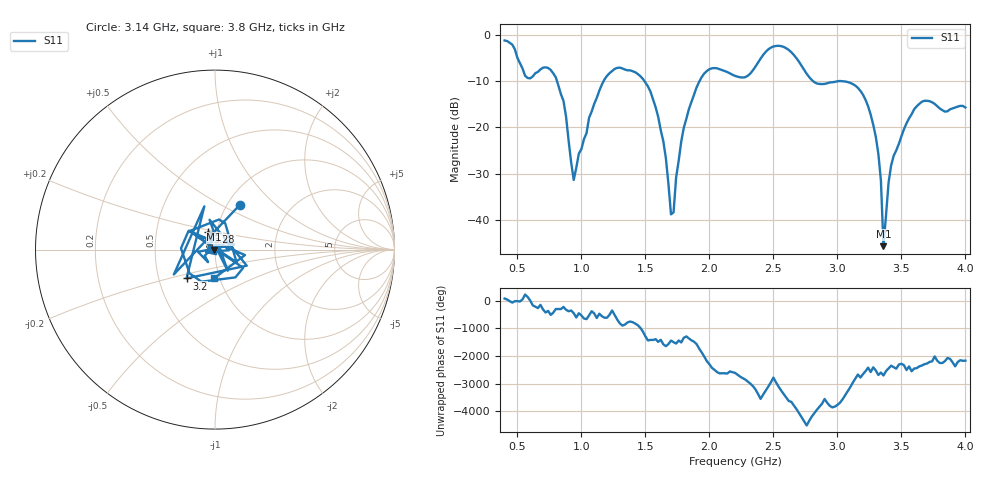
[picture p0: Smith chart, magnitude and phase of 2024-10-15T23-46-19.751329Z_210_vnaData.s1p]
! Created with skrf (http://scikit-rf.org).
# Hz S RI R 50.0
!freq ReS11 ImS11
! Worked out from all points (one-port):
!   181 points, 400 MHz to 4 GHz, reference 50 ohm
!   lowest |S11| = -45.7 dB at 3.36 GHz (marker M1), VSWR 1.01, Z = 49.5 + j0.0304 ohm
!   |S11| at or under -10 dB: 809.4 MHz to 1.173 GHz (363.8 MHz wide, 36.7 % of centre); 1.493 GHz to 1.923 GHz (429.7 MHz wide, 25.2 % of centre); 3.04 GHz to end of sweep (the widest 3 of 4)
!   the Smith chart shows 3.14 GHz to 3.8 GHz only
!   S11 on the Smith chart (normalised r, x): 3.14 GHz: 1.14, +0.62; 3.2 GHz: 0.69, -0.23; 3.28 GHz: 0.91, +0.18; 3.8 GHz: 0.94, -0.31
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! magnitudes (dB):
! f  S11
! 400 MHz  -1.2
! 580 MHz  -9.3
! 760 MHz  -7.6
! 860 MHz  -14.3
! 940 MHz  -31.4
! 1.14 GHz  -12.0
! 1.3 GHz  -7.1
! 1.54 GHz  -12.3
! 1.64 GHz  -23.0
! 1.7 GHz  -38.8
! 1.72 GHz  -38.4
! 1.76 GHz  -27.2
! 1.8 GHz  -20.1
! 1.94 GHz  -9.1
! 2.2 GHz  -8.8
! 2.5 GHz  -2.5
! 2.66 GHz  -4.3
! 2.84 GHz  -10.5
! 3.1 GHz  -10.4
! 3.14 GHz  -11.0
! 3.2 GHz  -12.9
! 3.28 GHz  -19.4
! 3.34 GHz  -31.5
! 3.36 GHz  -45.7
! 3.42 GHz  -28.2
! 3.56 GHz  -18.0
! 3.8 GHz  -15.9
! 4 GHz  -15.7
